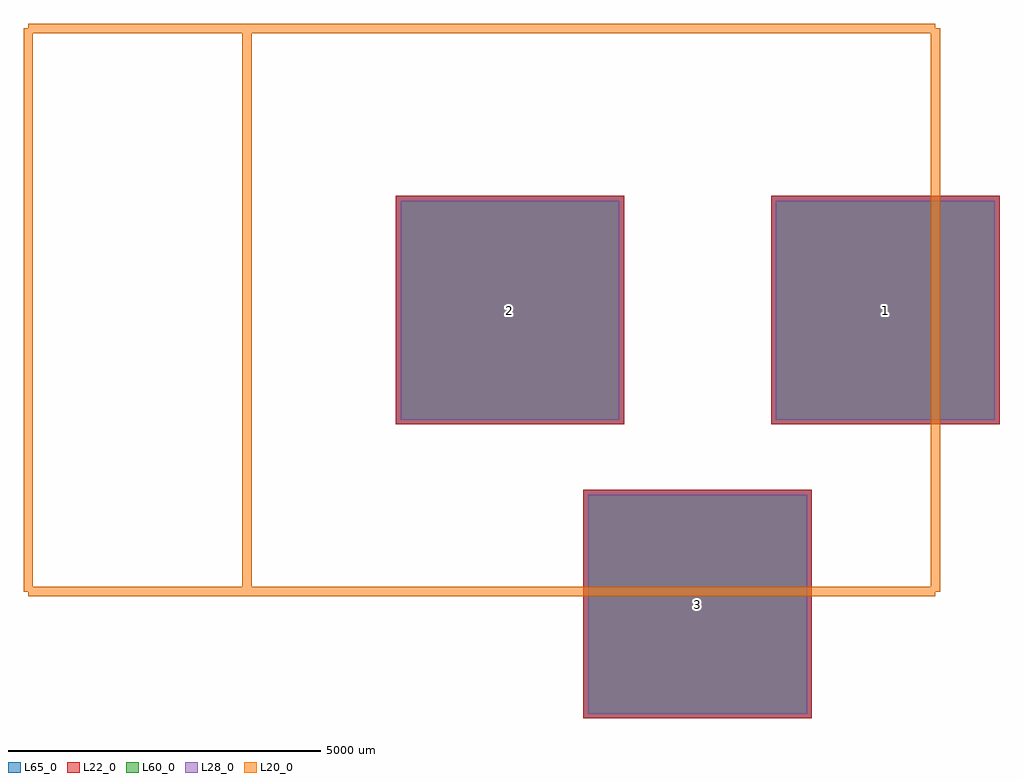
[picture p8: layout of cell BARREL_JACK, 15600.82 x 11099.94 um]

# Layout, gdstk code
import gdstk
lib = gdstk.Library(unit=1e-6, precision=1e-09)
def R(c, l, rs):  # rectangles x0, y0, x1, y1
    for r in rs: c.add(gdstk.rectangle(r[:2], r[2:], *l))
L20_0 = (20, 0)
L22_0 = (22, 0)
L28_0 = (28, 0)
L60_0 = (60, 0)
L65_0 = (65, 0)

barrel_jack = lib.new_cell('BARREL_JACK')
R(barrel_jack, L22_0, [(1375.34,-6524.06,5025.46,-2873.94), (-1624.4,-1825.06,2025.72,1825.06), (4375.08,-1825.06,8025.2,1825.06)])
R(barrel_jack, L28_0, [(1450.34,-6449.06,4950.46,-2948.94), (-1549.4,-1750.06,1950.72,1750.06), (4450.08,-1750.06,7950.2,1750.06)])
R(barrel_jack, L60_0, [(1450.34,-6449.06,4950.46,-2948.94), (-1549.4,-1750.06,1950.72,1750.06), (4450.08,-1750.06,7950.2,1750.06)])
R(barrel_jack, L65_0, [(1375.34,-6524.06,5025.46,-2873.94), (-1624.4,-1825.06,2025.72,1825.06), (4375.08,-1825.06,8025.2,1825.06)])
barrel_jack.add(gdstk.FlexPath([(7000.24,4500.88),(-7500.62,4500.88)], 149.998, ends="flush", simple_path=True, layer=20, datatype=0))  # L20_0
barrel_jack.add(gdstk.FlexPath([(7000.24,-4500.88),(7000.24,4500.88)], 149.998, ends="flush", simple_path=True, layer=20, datatype=0))  # L20_0
barrel_jack.add(gdstk.FlexPath([(-7500.62,-4500.88),(7000.24,-4500.88)], 149.998, ends="flush", simple_path=True, layer=20, datatype=0))  # L20_0
barrel_jack.add(gdstk.FlexPath([(-7500.62,4500.88),(-7500.62,-4500.88)], 149.998, ends="flush", simple_path=True, layer=20, datatype=0))  # L20_0
barrel_jack.add(gdstk.FlexPath([(-4000.5,4500.88),(-4000.5,-4500.88)], 149.998, ends="flush", simple_path=True, layer=20, datatype=0))  # L20_0
barrel_jack.add(gdstk.Label('3', (3200.4,-4699), layer=28, texttype=0))
barrel_jack.add(gdstk.Label('2', (200.66,0), layer=28, texttype=0))
barrel_jack.add(gdstk.Label('1', (6200.14,0), layer=28, texttype=0))
barrel_jack.add(gdstk.Label('type', (0,5999.48), layer=9, texttype=0))
barrel_jack.add(gdstk.Label('devicename', (10099.04,0), layer=9, texttype=0))

lib.write_gds('BARREL_JACK.gds')
